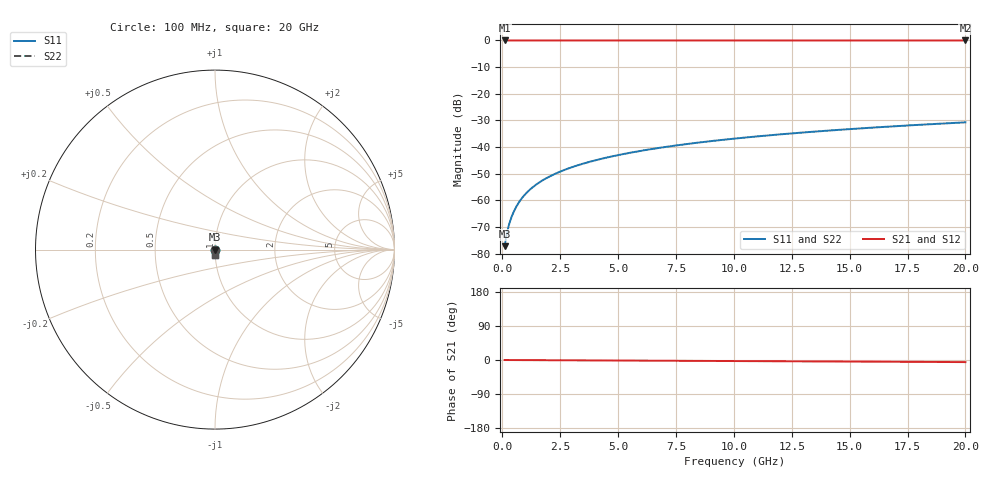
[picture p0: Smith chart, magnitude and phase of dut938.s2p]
! Touchstone file exported from HFSS 2026.1.0
!  File:  C:/ffzhzh/LocalFiles/Ansys_Project_Files/temp_train_TSV_938_1783186986_22436.aedt
!  Generated:  01:44:35 AM Jul  5, 2026
!  Design:  TSV
!  Project:  temp_train_TSV_938_1783186986_22436
! Variables:
!  h_bsmrdl = 2um
!  h_ox = 20um
!  h_rdl = 5um
!  h_sub = 52.43um
!  h_tmrdl = 5um
!  h_tsv = 52.43um
!  h_via = 3um
!  l_bsmrdl = 300um
!  l_sub = 423.44um
!  l_tmrdl = 200um
!  m_sub = 200um
!  pitch = 35.68um
!  r_tsv = 11.72um
!  s_tmrdl = 10um
!  w_bsmrdl = 18um
!  w_sub = 500um
!  w_tmrdl = 12um
!  x_tsv_center1 = 206um
!  x_tsv_center2 = 524um
!  x_tsv_center3 = 736um
!  x_tsv_center4 = 1054um
!  x_tsv_center5 = 1266um
!  x_tsv_center6 = 1584um
# GHz S MA R 50.000000
! Terminal data exported
! Port[1] = TSV1_1_T1
! Port[2] = TSV1_1_T2
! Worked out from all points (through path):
!   200 points, 100 MHz to 20 GHz, reference 50 ohm
!   highest |S21| = 0.00 dB at 100 MHz (marker M1); lowest = 0.0 dB at 20 GHz (marker M2)
!   lowest |S11| = -77.2 dB at 100 MHz (marker M3), VSWR 1.00, Z = 50 - j0.0112 ohm
!   |S11| at or under -10 dB: start of sweep to end of sweep
!   |S22| runs from -77.2 to -30.7 dB; largest |S21 - S12| = 1.8e-16
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0.1  0.0001375 -54.6  0.9999 -0.0  0.9999 -0.0  0.0001375 -54.6
! Gamma 0 0 0 0
! Port Impedance 50 0 50 0
0.2  0.0002439 -68.4  0.9999 -0.1  0.9999 -0.1  0.0002439 -68.4
0.3  0.0003617 -73.1  0.9999 -0.1  0.9999 -0.1  0.0003617 -73.1
0.4  0.0004865 -75.4  0.9999 -0.1  0.9999 -0.1  0.0004865 -75.4
0.5  0.0006167 -76.8  0.9999 -0.1  0.9999 -0.1  0.0006167 -76.8
0.7  0.0008886 -78.7  0.9998 -0.2  0.9998 -0.2  0.0008886 -78.7
0.8  0.001028 -79.5  0.9998 -0.2  0.9998 -0.2  0.001028 -79.5
1  0.00131 -80.7  0.9998 -0.3  0.9998 -0.3  0.00131 -80.7
1.2  0.001595 -81.8  0.9998 -0.3  0.9998 -0.3  0.001595 -81.8
1.4  0.00188 -82.6  0.9997 -0.4  0.9997 -0.4  0.00188 -82.6
1.7  0.002308 -83.6  0.9997 -0.5  0.9997 -0.5  0.002308 -83.6
2  0.002736 -84.4  0.9997 -0.6  0.9997 -0.6  0.002736 -84.4
2.7  0.003735 -85.7  0.9997 -0.8  0.9997 -0.8  0.003735 -85.7
3.5  0.00488 -86.6  0.9996 -1.0  0.9996 -1.0  0.00488 -86.6
4.2  0.005887 -87.2  0.9996 -1.2  0.9996 -1.2  0.005887 -87.2
5  0.007042 -87.8  0.9995 -1.4  0.9995 -1.4  0.007042 -87.8
6.8  0.009658 -88.8  0.9994 -1.9  0.9994 -1.9  0.009658 -88.8
8.3  0.01185 -89.5  0.9993 -2.3  0.9993 -2.3  0.01185 -89.5
10.1  0.01448 -90.3  0.9993 -2.8  0.9993 -2.8  0.01448 -90.3
13.4  0.01932 -91.5  0.9991 -3.7  0.9991 -3.7  0.01932 -91.5
16.7  0.02416 -92.7  0.9989 -4.6  0.9989 -4.6  0.02416 -92.7
20  0.02901 -93.8  0.9987 -5.5  0.9987 -5.5  0.02901 -93.8
